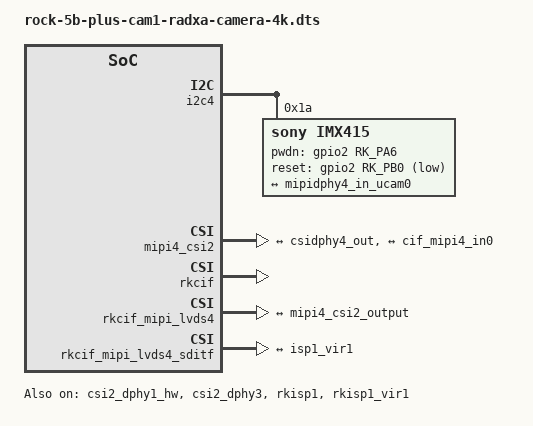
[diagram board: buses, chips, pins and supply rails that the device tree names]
/dts-v1/;
/plugin/;

#include <dt-bindings/clock/rk3588-cru.h>
#include <dt-bindings/power/rk3588-power.h>
#include <dt-bindings/gpio/gpio.h>
#include <dt-bindings/pinctrl/rockchip.h>

/ {
	metadata {
		title ="Enable Radxa Camera 4K on CAM1";
		compatible = "radxa,rock-5b-plus";
		category = "camera";
		exclusive = "csi2_dphy1";
		description = "Enable Radxa Camera 4K on CAM1.";
	};
};

&i2c4 {
	pinctrl-names = "default";
	pinctrl-0 = <&i2c4m1_xfer>;
	status = "okay";
	#address-cells = <1>;
	#size-cells = <0>;

	imx415: imx415@1a {
		status = "okay";
		compatible = "sony,imx415";
		reg = <0x1a>;
		clocks = <&cru CLK_MIPI_CAMARAOUT_M4>;
		clock-names = "xvclk";
		pinctrl-names = "default";
		pinctrl-0 = <&mipim0_camera4_clk>;
		power-domains = <&power RK3588_PD_VI>;
		pwdn-gpios = <&gpio2 RK_PA6 GPIO_ACTIVE_HIGH>;
		reset-gpios = <&gpio2 RK_PB0 GPIO_ACTIVE_LOW>;
		rockchip,camera-module-index = <0>;
		rockchip,camera-module-facing = "back";
		rockchip,camera-module-name = "RADXA-CAMERA-4K";
		rockchip,camera-module-lens-name = "DEFAULT";
		port {
			imx415_out4: endpoint {
				remote-endpoint = <&mipidphy4_in_ucam0>;
				data-lanes = <1 2 3 4>;
			};
		};
	};
};

&csi2_dphy1_hw {
	status = "okay";
};

&csi2_dphy3 {
	status = "okay";

	ports {
		#address-cells = <1>;
		#size-cells = <0>;

		port@0 {
			reg = <0>;
			#address-cells = <1>;
			#size-cells = <0>;

			mipidphy4_in_ucam0: endpoint@1 {
				reg = <1>;
				remote-endpoint = <&imx415_out4>;
				data-lanes = <1 2 3 4>;
			};
		};

		port@1 {
			reg = <1>;
			#address-cells = <1>;
			#size-cells = <0>;

			csidphy4_out: endpoint@0 {
				reg = <0>;
				remote-endpoint = <&mipi4_csi2_input>;
			};
		};
	};
};

&mipi4_csi2 {
	status = "okay";

	ports {
		#address-cells = <1>;
		#size-cells = <0>;

		port@0 {
			reg = <0>;
			#address-cells = <1>;
			#size-cells = <0>;

			mipi4_csi2_input: endpoint@1 {
				reg = <1>;
				remote-endpoint = <&csidphy4_out>;
			};
		};

		port@1 {
			reg = <1>;
			#address-cells = <1>;
			#size-cells = <0>;

			mipi4_csi2_output: endpoint@0 {
				reg = <0>;
				remote-endpoint = <&cif_mipi4_in0>;
			};
		};
	};
};

&rkcif {
	status = "okay";
};

&rkcif_mipi_lvds4 {
	status = "okay";

	port {
		cif_mipi4_in0: endpoint {
			remote-endpoint = <&mipi4_csi2_output>;
		};
	};
};

&rkcif_mipi_lvds4_sditf {
	status = "okay";

	port {
		mipi_lvds4_sditf: endpoint {
			remote-endpoint = <&isp1_vir1>;
		};
	};
};

&rkcif_mmu {
	status = "okay";
};

&isp1_mmu {
	status = "okay";
};

&rkisp1 {
	status = "okay";
};

&rkisp1_vir1 {
	status = "okay";

	port {
		#address-cells = <1>;
		#size-cells = <0>;

		isp1_vir1: endpoint@0 {
			reg = <0>;
			remote-endpoint = <&mipi_lvds4_sditf>;
		};
	};
};
